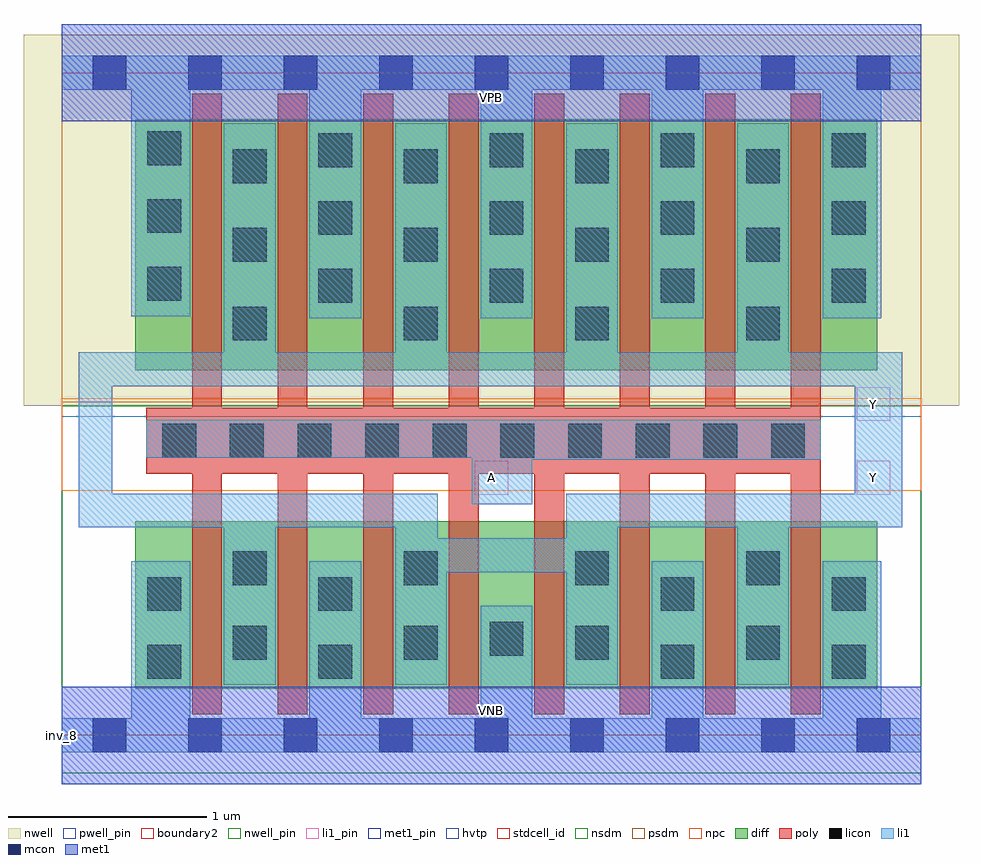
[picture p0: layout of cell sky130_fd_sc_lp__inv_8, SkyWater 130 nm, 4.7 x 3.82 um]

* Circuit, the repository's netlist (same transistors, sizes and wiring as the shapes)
* Copyright 2020 The SkyWater PDK Authors
*
* Licensed under the Apache License, Version 2.0 (the "License");
* you may not use this file except in compliance with the License.
* You may obtain a copy of the License at
*
*     https://www.apache.org/licenses/LICENSE-2.0
*
* Unless required by applicable law or agreed to in writing, software
* distributed under the License is distributed on an "AS IS" BASIS,
* WITHOUT WARRANTIES OR CONDITIONS OF ANY KIND, either express or implied.
* See the License for the specific language governing permissions and
* limitations under the License.
*
* SPDX-License-Identifier: Apache-2.0

.SUBCKT sky130_fd_sc_lp__inv_8 A VGND VNB VPB VPWR Y
*.PININFO A:I VGND:I VNB:I VPB:I VPWR:I Y:O
MMIP1 Y A VPWR VPB sky130_fd_pr__pfet_01v8_hvt m=8 w=1.26U l=0.15U mult=1 sa=0.265
+ sb=0.265 sd=0.28 area=0.063 perim=1.14
MMIN1 Y A VGND VNB sky130_fd_pr__nfet_01v8 m=8 w=0.84U l=0.15U mult=1 sa=0.265
+ sb=0.265 sd=0.28 area=0.063 perim=1.14
.ENDS sky130_fd_sc_lp__inv_8

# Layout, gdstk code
import gdstk
lib = gdstk.Library(unit=1e-6, precision=1e-09)
def R(c, l, rs):  # rectangles x0, y0, x1, y1
    for r in rs: c.add(gdstk.rectangle(r[:2], r[2:], *l))
def A(c, l, x, y, w, h, nx, ny, dx, dy):  # array of equal rectangles
    R(c, l, [(x+i*dx, y+j*dy, x+i*dx+w, y+j*dy+h) for i in range(nx) for j in range(ny)])
def P(c, l, *ps):  # polygons
    for p in ps: c.add(gdstk.Polygon(p, *l))
nwell_pin = (64, 16)
nwell = (64, 20)
diff = (65, 20)
poly = (66, 20)
licon = (66, 44)
li1_pin = (67, 16)
li1 = (67, 20)
mcon = (67, 44)
met1_pin = (68, 16)
met1 = (68, 20)
hvtp = (78, 44)
stdcell_id = (81, 4)
nsdm = (93, 44)
psdm = (94, 20)
npc = (95, 20)
pwell_pin = (122, 16)
boundary2 = (236, 0)

sky130_fd_sc_lp__inv_8 = lib.new_cell('sky130_fd_sc_lp__inv_8')
R(sky130_fd_sc_lp__inv_8, nwell_pin, [(0,3.085,4.32,3.33)])
R(sky130_fd_sc_lp__inv_8, nwell, [(-0.19,1.655,4.51,3.52)])
R(sky130_fd_sc_lp__inv_8, diff, [(0.37,0.235,4.1,1.075), (0.37,1.835,4.1,3.095)])
P(sky130_fd_sc_lp__inv_8, poly, [(3.815,3.225),(3.665,3.225),(3.665,1.645),(3.385,1.645),(3.385,3.225),(3.235,3.225),(3.235,1.645),(2.955,1.645),(2.955,3.225),(2.805,3.225),(2.805,1.645),(2.525,1.645),(2.525,3.225),(2.375,3.225),(2.375,1.645),(2.095,1.645),(2.095,3.225),(1.945,3.225),(1.945,1.645),(1.665,1.645),(1.665,3.225),(1.515,3.225),(1.515,1.645),(1.235,1.645),(1.235,3.225),(1.085,3.225),(1.085,1.645),(0.805,1.645),(0.805,3.225),(0.655,3.225),(0.655,1.645),(0.425,1.645),(0.425,1.315),(0.655,1.315),(0.655,0.105),(0.805,0.105),(0.805,1.315),(1.085,1.315),(1.085,0.105),(1.235,0.105),(1.235,1.315),(1.515,1.315),(1.515,0.105),(1.665,0.105),(1.665,1.315),(1.945,1.315),(1.945,0.105),(2.095,0.105),(2.095,1.315),(2.375,1.315),(2.375,0.105),(2.525,0.105),(2.525,1.315),(2.805,1.315),(2.805,0.105),(2.955,0.105),(2.955,1.315),(3.235,1.315),(3.235,0.105),(3.385,0.105),(3.385,1.315),(3.665,1.315),(3.665,0.105),(3.815,0.105)])
A(sky130_fd_sc_lp__inv_8, licon, 0.86, 0.38, 0.17, 0.17, 4, 2, 0.86, 0.375)
A(sky130_fd_sc_lp__inv_8, licon, 0.505, 1.395, 0.17, 0.17, 10, 1, 0.34, 0)
A(sky130_fd_sc_lp__inv_8, licon, 0.86, 1.985, 0.17, 0.17, 4, 3, 0.86, 0.395)
A(sky130_fd_sc_lp__inv_8, licon, 1.29, 2.175, 0.17, 0.17, 4, 3, 0.86, 0.34)
A(sky130_fd_sc_lp__inv_8, licon, 0.43, 2.185, 0.17, 0.17, 1, 3, 0, 0.34)
R(sky130_fd_sc_lp__inv_8, licon, [(0.43,0.285,0.6,0.455), (1.29,0.285,1.46,0.455), (3.01,0.285,3.18,0.455), (3.87,0.285,4.04,0.455), (2.15,0.4,2.32,0.57), (0.43,0.625,0.6,0.795), (1.29,0.625,1.46,0.795), (3.01,0.625,3.18,0.795), (3.87,0.625,4.04,0.795)])
R(sky130_fd_sc_lp__inv_8, li1_pin, [(2.075,1.21,2.245,1.38), (3.995,1.21,4.165,1.38), (3.995,1.58,4.165,1.75)])
P(sky130_fd_sc_lp__inv_8, li1, [(3.815,1.585),(0.425,1.585),(0.425,1.395),(2.06,1.395),(2.06,1.16),(2.365,1.16),(2.365,1.385),(3.815,1.385)],
  [(4.32,3.415),(0,3.415),(0,3.245),(0.35,3.245),(0.35,2.105),(0.645,2.105),(0.645,3.245),(1.245,3.245),(1.245,2.095),(1.505,2.095),(1.505,3.245),(2.105,3.245),(2.105,2.095),(2.365,2.095),(2.365,3.245),(2.965,3.245),(2.965,2.095),(3.225,2.095),(3.225,3.245),(3.825,3.245),(3.825,2.095),(4.12,2.095),(4.12,3.245),(4.32,3.245)],
  [(4.32,0.085),(4.12,0.085),(4.12,0.875),(3.825,0.875),(3.825,0.085),(3.225,0.085),(3.225,0.875),(2.965,0.875),(2.965,0.085),(2.365,0.085),(2.365,0.65),(2.105,0.65),(2.105,0.085),(1.505,0.085),(1.505,0.875),(1.245,0.875),(1.245,0.085),(0.645,0.085),(0.645,0.875),(0.35,0.875),(0.35,0.085),(0,0.085),(0,-0.085),(4.32,-0.085)],
  [(4.225,1.925),(3.985,1.925),(3.985,1.215),(2.535,1.215),(2.535,0.99),(1.89,0.99),(1.89,1.215),(0.255,1.215),(0.255,1.755),(3.985,1.755),(3.985,1.925),(3.655,1.925),(3.655,3.075),(3.395,3.075),(3.395,1.925),(2.795,1.925),(2.795,3.075),(2.535,3.075),(2.535,1.925),(1.935,1.925),(1.935,3.075),(1.675,3.075),(1.675,1.925),(1.075,1.925),(1.075,3.075),(0.815,3.075),(0.815,1.925),(0.085,1.925),(0.085,1.045),(0.815,1.045),(0.815,0.255),(1.075,0.255),(1.075,1.045),(1.675,1.045),(1.675,0.255),(1.935,0.255),(1.935,0.82),(2.535,0.82),(2.535,0.255),(2.795,0.255),(2.795,1.045),(3.395,1.045),(3.395,0.255),(3.655,0.255),(3.655,1.045),(4.225,1.045)])
A(sky130_fd_sc_lp__inv_8, mcon, 0.155, -0.085, 0.17, 0.17, 9, 2, 0.48, 3.33)
R(sky130_fd_sc_lp__inv_8, met1_pin, [(0,0,4.32,0.245), (0,3.085,4.32,3.33)])
R(sky130_fd_sc_lp__inv_8, met1, [(0,-0.245,4.32,0.245), (0,3.085,4.32,3.575)])
R(sky130_fd_sc_lp__inv_8, hvtp, [(0,1.6,4.32,3.33)])
R(sky130_fd_sc_lp__inv_8, stdcell_id, [(0,0,4.32,3.33)])
R(sky130_fd_sc_lp__inv_8, nsdm, [(0,-0.19,4.32,1.655)])
P(sky130_fd_sc_lp__inv_8, psdm, [(4.32,3.52),(0,3.52),(0,1.675),(3.805,1.675),(3.805,1.655),(4.32,1.655)])
R(sky130_fd_sc_lp__inv_8, npc, [(0,1.23,4.32,1.695)])
R(sky130_fd_sc_lp__inv_8, pwell_pin, [(0,0,4.32,0.245)])
R(sky130_fd_sc_lp__inv_8, boundary2, [(0,0,4.32,3.33)])
sky130_fd_sc_lp__inv_8.add(gdstk.Label('VNB', (2.16,0.123), layer=64, texttype=59))
sky130_fd_sc_lp__inv_8.add(gdstk.Label('VPB', (2.16,3.208), layer=64, texttype=5))
sky130_fd_sc_lp__inv_8.add(gdstk.Label('inv_8', (0,0), layer=83, texttype=44))
sky130_fd_sc_lp__inv_8.add(gdstk.Label('VPWR', (2.16,3.208), layer=68, texttype=5))
sky130_fd_sc_lp__inv_8.add(gdstk.Label('VGND', (2.16,0.123), layer=68, texttype=5))
sky130_fd_sc_lp__inv_8.add(gdstk.Label('A', (2.16,1.295), layer=67, texttype=5))
sky130_fd_sc_lp__inv_8.add(gdstk.Label('Y', (4.08,1.295), layer=67, texttype=5))
sky130_fd_sc_lp__inv_8.add(gdstk.Label('Y', (4.08,1.665), layer=67, texttype=5))

lib.write_gds('sky130_fd_sc_lp__inv_8.gds')
